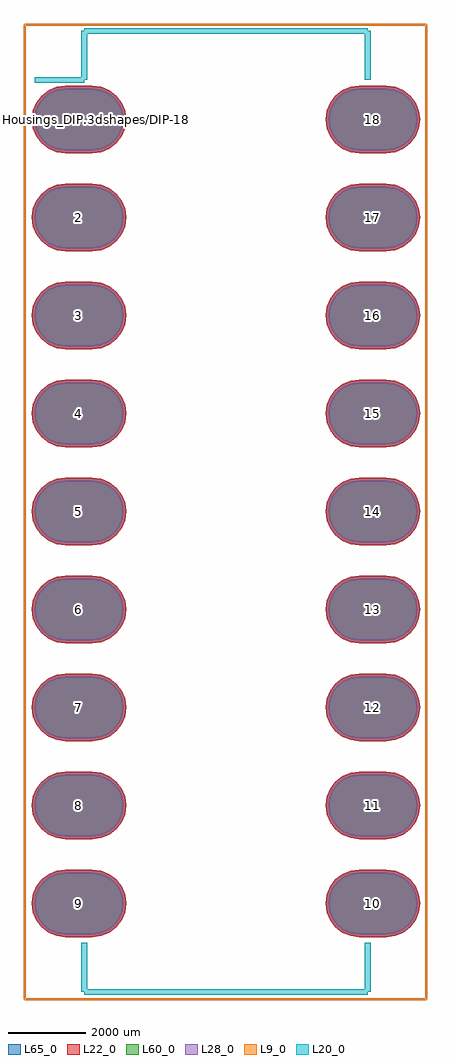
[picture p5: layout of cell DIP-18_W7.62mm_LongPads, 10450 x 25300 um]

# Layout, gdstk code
import gdstk
lib = gdstk.Library(unit=1e-6, precision=1e-09)
def P(c, l, *ps):  # polygons
    for p in ps: c.add(gdstk.Polygon(p, *l))
L9_0 = (9, 0)
L20_0 = (20, 0)
L22_0 = (22, 0)
L28_0 = (28, 0)
L60_0 = (60, 0)
L65_0 = (65, 0)

dip_18_w7_62mm_longpads = lib.new_cell('DIP-18_W7.62mm_LongPads')
P(dip_18_w7_62mm_longpads, L22_0, [(7270,-875),(7970,-875),(8196.467,-845.185),(8407.5,-757.772),(8588.718,-618.718),(8727.772,-437.5),(8815.185,-226.467),(8845,0),(8815.185,226.467),(8727.772,437.5),(8588.718,618.718),(8407.5,757.772),(8196.467,845.185),(7970,875),(7270,875),(7043.533,845.185),(6832.5,757.772),(6651.282,618.718),(6512.228,437.5),(6424.815,226.467),(6395,0),(6424.815,-226.467),(6512.228,-437.5),(6651.282,-618.718),(6832.5,-757.772),(7043.533,-845.185)],
  [(7270,-3415),(7970,-3415),(8196.467,-3385.185),(8407.5,-3297.772),(8588.718,-3158.718),(8727.772,-2977.5),(8815.185,-2766.467),(8845,-2540),(8815.185,-2313.533),(8727.772,-2102.5),(8588.718,-1921.282),(8407.5,-1782.228),(8196.467,-1694.815),(7970,-1665),(7270,-1665),(7043.533,-1694.815),(6832.5,-1782.228),(6651.282,-1921.282),(6512.228,-2102.5),(6424.815,-2313.533),(6395,-2540),(6424.815,-2766.467),(6512.228,-2977.5),(6651.282,-3158.718),(6832.5,-3297.772),(7043.533,-3385.185)],
  [(7270,-5955),(7970,-5955),(8196.467,-5925.185),(8407.5,-5837.772),(8588.718,-5698.718),(8727.772,-5517.5),(8815.185,-5306.467),(8845,-5080),(8815.185,-4853.533),(8727.772,-4642.5),(8588.718,-4461.282),(8407.5,-4322.228),(8196.467,-4234.815),(7970,-4205),(7270,-4205),(7043.533,-4234.815),(6832.5,-4322.228),(6651.282,-4461.282),(6512.228,-4642.5),(6424.815,-4853.533),(6395,-5080),(6424.815,-5306.467),(6512.228,-5517.5),(6651.282,-5698.718),(6832.5,-5837.772),(7043.533,-5925.185)],
  [(7270,-8495),(7970,-8495),(8196.467,-8465.185),(8407.5,-8377.772),(8588.718,-8238.718),(8727.772,-8057.5),(8815.185,-7846.467),(8845,-7620),(8815.185,-7393.533),(8727.772,-7182.5),(8588.718,-7001.282),(8407.5,-6862.228),(8196.467,-6774.815),(7970,-6745),(7270,-6745),(7043.533,-6774.815),(6832.5,-6862.228),(6651.282,-7001.282),(6512.228,-7182.5),(6424.815,-7393.533),(6395,-7620),(6424.815,-7846.467),(6512.228,-8057.5),(6651.282,-8238.718),(6832.5,-8377.772),(7043.533,-8465.185)],
  [(7270,-11035),(7970,-11035),(8196.467,-11005.185),(8407.5,-10917.772),(8588.718,-10778.718),(8727.772,-10597.5),(8815.185,-10386.467),(8845,-10160),(8815.185,-9933.533),(8727.772,-9722.5),(8588.718,-9541.282),(8407.5,-9402.228),(8196.467,-9314.815),(7970,-9285),(7270,-9285),(7043.533,-9314.815),(6832.5,-9402.228),(6651.282,-9541.282),(6512.228,-9722.5),(6424.815,-9933.533),(6395,-10160),(6424.815,-10386.467),(6512.228,-10597.5),(6651.282,-10778.718),(6832.5,-10917.772),(7043.533,-11005.185)],
  [(7270,-13575),(7970,-13575),(8196.467,-13545.185),(8407.5,-13457.772),(8588.718,-13318.718),(8727.772,-13137.5),(8815.185,-12926.467),(8845,-12700),(8815.185,-12473.533),(8727.772,-12262.5),(8588.718,-12081.282),(8407.5,-11942.228),(8196.467,-11854.815),(7970,-11825),(7270,-11825),(7043.533,-11854.815),(6832.5,-11942.228),(6651.282,-12081.282),(6512.228,-12262.5),(6424.815,-12473.533),(6395,-12700),(6424.815,-12926.467),(6512.228,-13137.5),(6651.282,-13318.718),(6832.5,-13457.772),(7043.533,-13545.185)],
  [(7270,-16115),(7970,-16115),(8196.467,-16085.185),(8407.5,-15997.772),(8588.718,-15858.718),(8727.772,-15677.5),(8815.185,-15466.467),(8845,-15240),(8815.185,-15013.533),(8727.772,-14802.5),(8588.718,-14621.282),(8407.5,-14482.228),(8196.467,-14394.815),(7970,-14365),(7270,-14365),(7043.533,-14394.815),(6832.5,-14482.228),(6651.282,-14621.282),(6512.228,-14802.5),(6424.815,-15013.533),(6395,-15240),(6424.815,-15466.467),(6512.228,-15677.5),(6651.282,-15858.718),(6832.5,-15997.772),(7043.533,-16085.185)],
  [(7270,-18655),(7970,-18655),(8196.467,-18625.185),(8407.5,-18537.772),(8588.718,-18398.718),(8727.772,-18217.5),(8815.185,-18006.467),(8845,-17780),(8815.185,-17553.533),(8727.772,-17342.5),(8588.718,-17161.282),(8407.5,-17022.228),(8196.467,-16934.815),(7970,-16905),(7270,-16905),(7043.533,-16934.815),(6832.5,-17022.228),(6651.282,-17161.282),(6512.228,-17342.5),(6424.815,-17553.533),(6395,-17780),(6424.815,-18006.467),(6512.228,-18217.5),(6651.282,-18398.718),(6832.5,-18537.772),(7043.533,-18625.185)],
  [(7270,-21195),(7970,-21195),(8196.467,-21165.185),(8407.5,-21077.772),(8588.718,-20938.718),(8727.772,-20757.5),(8815.185,-20546.467),(8845,-20320),(8815.185,-20093.533),(8727.772,-19882.5),(8588.718,-19701.282),(8407.5,-19562.228),(8196.467,-19474.815),(7970,-19445),(7270,-19445),(7043.533,-19474.815),(6832.5,-19562.228),(6651.282,-19701.282),(6512.228,-19882.5),(6424.815,-20093.533),(6395,-20320),(6424.815,-20546.467),(6512.228,-20757.5),(6651.282,-20938.718),(6832.5,-21077.772),(7043.533,-21165.185)],
  [(-350,-21195),(350,-21195),(576.467,-21165.185),(787.5,-21077.772),(968.718,-20938.718),(1107.772,-20757.5),(1195.185,-20546.467),(1225,-20320),(1195.185,-20093.533),(1107.772,-19882.5),(968.718,-19701.282),(787.5,-19562.228),(576.467,-19474.815),(350,-19445),(-350,-19445),(-576.467,-19474.815),(-787.5,-19562.228),(-968.718,-19701.282),(-1107.772,-19882.5),(-1195.185,-20093.533),(-1225,-20320),(-1195.185,-20546.467),(-1107.772,-20757.5),(-968.718,-20938.718),(-787.5,-21077.772),(-576.467,-21165.185)],
  [(-350,-18655),(350,-18655),(576.467,-18625.185),(787.5,-18537.772),(968.718,-18398.718),(1107.772,-18217.5),(1195.185,-18006.467),(1225,-17780),(1195.185,-17553.533),(1107.772,-17342.5),(968.718,-17161.282),(787.5,-17022.228),(576.467,-16934.815),(350,-16905),(-350,-16905),(-576.467,-16934.815),(-787.5,-17022.228),(-968.718,-17161.282),(-1107.772,-17342.5),(-1195.185,-17553.533),(-1225,-17780),(-1195.185,-18006.467),(-1107.772,-18217.5),(-968.718,-18398.718),(-787.5,-18537.772),(-576.467,-18625.185)],
  [(-350,-16115),(350,-16115),(576.467,-16085.185),(787.5,-15997.772),(968.718,-15858.718),(1107.772,-15677.5),(1195.185,-15466.467),(1225,-15240),(1195.185,-15013.533),(1107.772,-14802.5),(968.718,-14621.282),(787.5,-14482.228),(576.467,-14394.815),(350,-14365),(-350,-14365),(-576.467,-14394.815),(-787.5,-14482.228),(-968.718,-14621.282),(-1107.772,-14802.5),(-1195.185,-15013.533),(-1225,-15240),(-1195.185,-15466.467),(-1107.772,-15677.5),(-968.718,-15858.718),(-787.5,-15997.772),(-576.467,-16085.185)],
  [(-350,-13575),(350,-13575),(576.467,-13545.185),(787.5,-13457.772),(968.718,-13318.718),(1107.772,-13137.5),(1195.185,-12926.467),(1225,-12700),(1195.185,-12473.533),(1107.772,-12262.5),(968.718,-12081.282),(787.5,-11942.228),(576.467,-11854.815),(350,-11825),(-350,-11825),(-576.467,-11854.815),(-787.5,-11942.228),(-968.718,-12081.282),(-1107.772,-12262.5),(-1195.185,-12473.533),(-1225,-12700),(-1195.185,-12926.467),(-1107.772,-13137.5),(-968.718,-13318.718),(-787.5,-13457.772),(-576.467,-13545.185)],
  [(-350,-11035),(350,-11035),(576.467,-11005.185),(787.5,-10917.772),(968.718,-10778.718),(1107.772,-10597.5),(1195.185,-10386.467),(1225,-10160),(1195.185,-9933.533),(1107.772,-9722.5),(968.718,-9541.282),(787.5,-9402.228),(576.467,-9314.815),(350,-9285),(-350,-9285),(-576.467,-9314.815),(-787.5,-9402.228),(-968.718,-9541.282),(-1107.772,-9722.5),(-1195.185,-9933.533),(-1225,-10160),(-1195.185,-10386.467),(-1107.772,-10597.5),(-968.718,-10778.718),(-787.5,-10917.772),(-576.467,-11005.185)],
  [(-350,-8495),(350,-8495),(576.467,-8465.185),(787.5,-8377.772),(968.718,-8238.718),(1107.772,-8057.5),(1195.185,-7846.467),(1225,-7620),(1195.185,-7393.533),(1107.772,-7182.5),(968.718,-7001.282),(787.5,-6862.228),(576.467,-6774.815),(350,-6745),(-350,-6745),(-576.467,-6774.815),(-787.5,-6862.228),(-968.718,-7001.282),(-1107.772,-7182.5),(-1195.185,-7393.533),(-1225,-7620),(-1195.185,-7846.467),(-1107.772,-8057.5),(-968.718,-8238.718),(-787.5,-8377.772),(-576.467,-8465.185)],
  [(-350,-5955),(350,-5955),(576.467,-5925.185),(787.5,-5837.772),(968.718,-5698.718),(1107.772,-5517.5),(1195.185,-5306.467),(1225,-5080),(1195.185,-4853.533),(1107.772,-4642.5),(968.718,-4461.282),(787.5,-4322.228),(576.467,-4234.815),(350,-4205),(-350,-4205),(-576.467,-4234.815),(-787.5,-4322.228),(-968.718,-4461.282),(-1107.772,-4642.5),(-1195.185,-4853.533),(-1225,-5080),(-1195.185,-5306.467),(-1107.772,-5517.5),(-968.718,-5698.718),(-787.5,-5837.772),(-576.467,-5925.185)],
  [(-350,-3415),(350,-3415),(576.467,-3385.185),(787.5,-3297.772),(968.718,-3158.718),(1107.772,-2977.5),(1195.185,-2766.467),(1225,-2540),(1195.185,-2313.533),(1107.772,-2102.5),(968.718,-1921.282),(787.5,-1782.228),(576.467,-1694.815),(350,-1665),(-350,-1665),(-576.467,-1694.815),(-787.5,-1782.228),(-968.718,-1921.282),(-1107.772,-2102.5),(-1195.185,-2313.533),(-1225,-2540),(-1195.185,-2766.467),(-1107.772,-2977.5),(-968.718,-3158.718),(-787.5,-3297.772),(-576.467,-3385.185)],
  [(-350,-875),(350,-875),(576.467,-845.185),(787.5,-757.772),(968.718,-618.718),(1107.772,-437.5),(1195.185,-226.467),(1225,0),(1195.185,226.467),(1107.772,437.5),(968.718,618.718),(787.5,757.772),(576.467,845.185),(350,875),(-350,875),(-576.467,845.185),(-787.5,757.772),(-968.718,618.718),(-1107.772,437.5),(-1195.185,226.467),(-1225,0),(-1195.185,-226.467),(-1107.772,-437.5),(-968.718,-618.718),(-787.5,-757.772),(-576.467,-845.185)])
P(dip_18_w7_62mm_longpads, L28_0, [(7270,-800),(7970,-800),(8177.055,-772.741),(8370,-692.82),(8535.685,-565.685),(8662.82,-400),(8742.741,-207.055),(8770,0),(8742.741,207.055),(8662.82,400),(8535.685,565.685),(8370,692.82),(8177.055,772.741),(7970,800),(7270,800),(7062.945,772.741),(6870,692.82),(6704.315,565.685),(6577.18,400),(6497.259,207.055),(6470,0),(6497.259,-207.055),(6577.18,-400),(6704.315,-565.685),(6870,-692.82),(7062.945,-772.741)],
  [(7270,-3340),(7970,-3340),(8177.055,-3312.741),(8370,-3232.82),(8535.685,-3105.685),(8662.82,-2940),(8742.741,-2747.055),(8770,-2540),(8742.741,-2332.945),(8662.82,-2140),(8535.685,-1974.315),(8370,-1847.18),(8177.055,-1767.259),(7970,-1740),(7270,-1740),(7062.945,-1767.259),(6870,-1847.18),(6704.315,-1974.315),(6577.18,-2140),(6497.259,-2332.945),(6470,-2540),(6497.259,-2747.055),(6577.18,-2940),(6704.315,-3105.685),(6870,-3232.82),(7062.945,-3312.741)],
  [(7270,-5880),(7970,-5880),(8177.055,-5852.741),(8370,-5772.82),(8535.685,-5645.685),(8662.82,-5480),(8742.741,-5287.055),(8770,-5080),(8742.741,-4872.945),(8662.82,-4680),(8535.685,-4514.315),(8370,-4387.18),(8177.055,-4307.259),(7970,-4280),(7270,-4280),(7062.945,-4307.259),(6870,-4387.18),(6704.315,-4514.315),(6577.18,-4680),(6497.259,-4872.945),(6470,-5080),(6497.259,-5287.055),(6577.18,-5480),(6704.315,-5645.685),(6870,-5772.82),(7062.945,-5852.741)],
  [(7270,-8420),(7970,-8420),(8177.055,-8392.741),(8370,-8312.82),(8535.685,-8185.685),(8662.82,-8020),(8742.741,-7827.055),(8770,-7620),(8742.741,-7412.945),(8662.82,-7220),(8535.685,-7054.315),(8370,-6927.18),(8177.055,-6847.259),(7970,-6820),(7270,-6820),(7062.945,-6847.259),(6870,-6927.18),(6704.315,-7054.315),(6577.18,-7220),(6497.259,-7412.945),(6470,-7620),(6497.259,-7827.055),(6577.18,-8020),(6704.315,-8185.685),(6870,-8312.82),(7062.945,-8392.741)],
  [(7270,-10960),(7970,-10960),(8177.055,-10932.741),(8370,-10852.82),(8535.685,-10725.685),(8662.82,-10560),(8742.741,-10367.055),(8770,-10160),(8742.741,-9952.945),(8662.82,-9760),(8535.685,-9594.315),(8370,-9467.18),(8177.055,-9387.259),(7970,-9360),(7270,-9360),(7062.945,-9387.259),(6870,-9467.18),(6704.315,-9594.315),(6577.18,-9760),(6497.259,-9952.945),(6470,-10160),(6497.259,-10367.055),(6577.18,-10560),(6704.315,-10725.685),(6870,-10852.82),(7062.945,-10932.741)],
  [(7270,-13500),(7970,-13500),(8177.055,-13472.741),(8370,-13392.82),(8535.685,-13265.685),(8662.82,-13100),(8742.741,-12907.055),(8770,-12700),(8742.741,-12492.945),(8662.82,-12300),(8535.685,-12134.315),(8370,-12007.18),(8177.055,-11927.259),(7970,-11900),(7270,-11900),(7062.945,-11927.259),(6870,-12007.18),(6704.315,-12134.315),(6577.18,-12300),(6497.259,-12492.945),(6470,-12700),(6497.259,-12907.055),(6577.18,-13100),(6704.315,-13265.685),(6870,-13392.82),(7062.945,-13472.741)],
  [(7270,-16040),(7970,-16040),(8177.055,-16012.741),(8370,-15932.82),(8535.685,-15805.685),(8662.82,-15640),(8742.741,-15447.055),(8770,-15240),(8742.741,-15032.945),(8662.82,-14840),(8535.685,-14674.315),(8370,-14547.18),(8177.055,-14467.259),(7970,-14440),(7270,-14440),(7062.945,-14467.259),(6870,-14547.18),(6704.315,-14674.315),(6577.18,-14840),(6497.259,-15032.945),(6470,-15240),(6497.259,-15447.055),(6577.18,-15640),(6704.315,-15805.685),(6870,-15932.82),(7062.945,-16012.741)],
  [(7270,-18580),(7970,-18580),(8177.055,-18552.741),(8370,-18472.82),(8535.685,-18345.685),(8662.82,-18180),(8742.741,-17987.055),(8770,-17780),(8742.741,-17572.945),(8662.82,-17380),(8535.685,-17214.315),(8370,-17087.18),(8177.055,-17007.259),(7970,-16980),(7270,-16980),(7062.945,-17007.259),(6870,-17087.18),(6704.315,-17214.315),(6577.18,-17380),(6497.259,-17572.945),(6470,-17780),(6497.259,-17987.055),(6577.18,-18180),(6704.315,-18345.685),(6870,-18472.82),(7062.945,-18552.741)],
  [(7270,-21120),(7970,-21120),(8177.055,-21092.741),(8370,-21012.82),(8535.685,-20885.685),(8662.82,-20720),(8742.741,-20527.055),(8770,-20320),(8742.741,-20112.945),(8662.82,-19920),(8535.685,-19754.315),(8370,-19627.18),(8177.055,-19547.259),(7970,-19520),(7270,-19520),(7062.945,-19547.259),(6870,-19627.18),(6704.315,-19754.315),(6577.18,-19920),(6497.259,-20112.945),(6470,-20320),(6497.259,-20527.055),(6577.18,-20720),(6704.315,-20885.685),(6870,-21012.82),(7062.945,-21092.741)],
  [(-350,-21120),(350,-21120),(557.055,-21092.741),(750,-21012.82),(915.685,-20885.685),(1042.82,-20720),(1122.741,-20527.055),(1150,-20320),(1122.741,-20112.945),(1042.82,-19920),(915.685,-19754.315),(750,-19627.18),(557.055,-19547.259),(350,-19520),(-350,-19520),(-557.055,-19547.259),(-750,-19627.18),(-915.685,-19754.315),(-1042.82,-19920),(-1122.741,-20112.945),(-1150,-20320),(-1122.741,-20527.055),(-1042.82,-20720),(-915.685,-20885.685),(-750,-21012.82),(-557.055,-21092.741)],
  [(-350,-18580),(350,-18580),(557.055,-18552.741),(750,-18472.82),(915.685,-18345.685),(1042.82,-18180),(1122.741,-17987.055),(1150,-17780),(1122.741,-17572.945),(1042.82,-17380),(915.685,-17214.315),(750,-17087.18),(557.055,-17007.259),(350,-16980),(-350,-16980),(-557.055,-17007.259),(-750,-17087.18),(-915.685,-17214.315),(-1042.82,-17380),(-1122.741,-17572.945),(-1150,-17780),(-1122.741,-17987.055),(-1042.82,-18180),(-915.685,-18345.685),(-750,-18472.82),(-557.055,-18552.741)],
  [(-350,-16040),(350,-16040),(557.055,-16012.741),(750,-15932.82),(915.685,-15805.685),(1042.82,-15640),(1122.741,-15447.055),(1150,-15240),(1122.741,-15032.945),(1042.82,-14840),(915.685,-14674.315),(750,-14547.18),(557.055,-14467.259),(350,-14440),(-350,-14440),(-557.055,-14467.259),(-750,-14547.18),(-915.685,-14674.315),(-1042.82,-14840),(-1122.741,-15032.945),(-1150,-15240),(-1122.741,-15447.055),(-1042.82,-15640),(-915.685,-15805.685),(-750,-15932.82),(-557.055,-16012.741)],
  [(-350,-13500),(350,-13500),(557.055,-13472.741),(750,-13392.82),(915.685,-13265.685),(1042.82,-13100),(1122.741,-12907.055),(1150,-12700),(1122.741,-12492.945),(1042.82,-12300),(915.685,-12134.315),(750,-12007.18),(557.055,-11927.259),(350,-11900),(-350,-11900),(-557.055,-11927.259),(-750,-12007.18),(-915.685,-12134.315),(-1042.82,-12300),(-1122.741,-12492.945),(-1150,-12700),(-1122.741,-12907.055),(-1042.82,-13100),(-915.685,-13265.685),(-750,-13392.82),(-557.055,-13472.741)],
  [(-350,-10960),(350,-10960),(557.055,-10932.741),(750,-10852.82),(915.685,-10725.685),(1042.82,-10560),(1122.741,-10367.055),(1150,-10160),(1122.741,-9952.945),(1042.82,-9760),(915.685,-9594.315),(750,-9467.18),(557.055,-9387.259),(350,-9360),(-350,-9360),(-557.055,-9387.259),(-750,-9467.18),(-915.685,-9594.315),(-1042.82,-9760),(-1122.741,-9952.945),(-1150,-10160),(-1122.741,-10367.055),(-1042.82,-10560),(-915.685,-10725.685),(-750,-10852.82),(-557.055,-10932.741)],
  [(-350,-8420),(350,-8420),(557.055,-8392.741),(750,-8312.82),(915.685,-8185.685),(1042.82,-8020),(1122.741,-7827.055),(1150,-7620),(1122.741,-7412.945),(1042.82,-7220),(915.685,-7054.315),(750,-6927.18),(557.055,-6847.259),(350,-6820),(-350,-6820),(-557.055,-6847.259),(-750,-6927.18),(-915.685,-7054.315),(-1042.82,-7220),(-1122.741,-7412.945),(-1150,-7620),(-1122.741,-7827.055),(-1042.82,-8020),(-915.685,-8185.685),(-750,-8312.82),(-557.055,-8392.741)],
  [(-350,-5880),(350,-5880),(557.055,-5852.741),(750,-5772.82),(915.685,-5645.685),(1042.82,-5480),(1122.741,-5287.055),(1150,-5080),(1122.741,-4872.945),(1042.82,-4680),(915.685,-4514.315),(750,-4387.18),(557.055,-4307.259),(350,-4280),(-350,-4280),(-557.055,-4307.259),(-750,-4387.18),(-915.685,-4514.315),(-1042.82,-4680),(-1122.741,-4872.945),(-1150,-5080),(-1122.741,-5287.055),(-1042.82,-5480),(-915.685,-5645.685),(-750,-5772.82),(-557.055,-5852.741)],
  [(-350,-3340),(350,-3340),(557.055,-3312.741),(750,-3232.82),(915.685,-3105.685),(1042.82,-2940),(1122.741,-2747.055),(1150,-2540),(1122.741,-2332.945),(1042.82,-2140),(915.685,-1974.315),(750,-1847.18),(557.055,-1767.259),(350,-1740),(-350,-1740),(-557.055,-1767.259),(-750,-1847.18),(-915.685,-1974.315),(-1042.82,-2140),(-1122.741,-2332.945),(-1150,-2540),(-1122.741,-2747.055),(-1042.82,-2940),(-915.685,-3105.685),(-750,-3232.82),(-557.055,-3312.741)],
  [(-350,-800),(350,-800),(557.055,-772.741),(750,-692.82),(915.685,-565.685),(1042.82,-400),(1122.741,-207.055),(1150,0),(1122.741,207.055),(1042.82,400),(915.685,565.685),(750,692.82),(557.055,772.741),(350,800),(-350,800),(-557.055,772.741),(-750,692.82),(-915.685,565.685),(-1042.82,400),(-1122.741,207.055),(-1150,0),(-1122.741,-207.055),(-1042.82,-400),(-915.685,-565.685),(-750,-692.82),(-557.055,-772.741)])
P(dip_18_w7_62mm_longpads, L60_0, [(7270,-800),(7970,-800),(8177.055,-772.741),(8370,-692.82),(8535.685,-565.685),(8662.82,-400),(8742.741,-207.055),(8770,0),(8742.741,207.055),(8662.82,400),(8535.685,565.685),(8370,692.82),(8177.055,772.741),(7970,800),(7270,800),(7062.945,772.741),(6870,692.82),(6704.315,565.685),(6577.18,400),(6497.259,207.055),(6470,0),(6497.259,-207.055),(6577.18,-400),(6704.315,-565.685),(6870,-692.82),(7062.945,-772.741)],
  [(7270,-3340),(7970,-3340),(8177.055,-3312.741),(8370,-3232.82),(8535.685,-3105.685),(8662.82,-2940),(8742.741,-2747.055),(8770,-2540),(8742.741,-2332.945),(8662.82,-2140),(8535.685,-1974.315),(8370,-1847.18),(8177.055,-1767.259),(7970,-1740),(7270,-1740),(7062.945,-1767.259),(6870,-1847.18),(6704.315,-1974.315),(6577.18,-2140),(6497.259,-2332.945),(6470,-2540),(6497.259,-2747.055),(6577.18,-2940),(6704.315,-3105.685),(6870,-3232.82),(7062.945,-3312.741)],
  [(7270,-5880),(7970,-5880),(8177.055,-5852.741),(8370,-5772.82),(8535.685,-5645.685),(8662.82,-5480),(8742.741,-5287.055),(8770,-5080),(8742.741,-4872.945),(8662.82,-4680),(8535.685,-4514.315),(8370,-4387.18),(8177.055,-4307.259),(7970,-4280),(7270,-4280),(7062.945,-4307.259),(6870,-4387.18),(6704.315,-4514.315),(6577.18,-4680),(6497.259,-4872.945),(6470,-5080),(6497.259,-5287.055),(6577.18,-5480),(6704.315,-5645.685),(6870,-5772.82),(7062.945,-5852.741)],
  [(7270,-8420),(7970,-8420),(8177.055,-8392.741),(8370,-8312.82),(8535.685,-8185.685),(8662.82,-8020),(8742.741,-7827.055),(8770,-7620),(8742.741,-7412.945),(8662.82,-7220),(8535.685,-7054.315),(8370,-6927.18),(8177.055,-6847.259),(7970,-6820),(7270,-6820),(7062.945,-6847.259),(6870,-6927.18),(6704.315,-7054.315),(6577.18,-7220),(6497.259,-7412.945),(6470,-7620),(6497.259,-7827.055),(6577.18,-8020),(6704.315,-8185.685),(6870,-8312.82),(7062.945,-8392.741)],
  [(7270,-10960),(7970,-10960),(8177.055,-10932.741),(8370,-10852.82),(8535.685,-10725.685),(8662.82,-10560),(8742.741,-10367.055),(8770,-10160),(8742.741,-9952.945),(8662.82,-9760),(8535.685,-9594.315),(8370,-9467.18),(8177.055,-9387.259),(7970,-9360),(7270,-9360),(7062.945,-9387.259),(6870,-9467.18),(6704.315,-9594.315),(6577.18,-9760),(6497.259,-9952.945),(6470,-10160),(6497.259,-10367.055),(6577.18,-10560),(6704.315,-10725.685),(6870,-10852.82),(7062.945,-10932.741)],
  [(7270,-13500),(7970,-13500),(8177.055,-13472.741),(8370,-13392.82),(8535.685,-13265.685),(8662.82,-13100),(8742.741,-12907.055),(8770,-12700),(8742.741,-12492.945),(8662.82,-12300),(8535.685,-12134.315),(8370,-12007.18),(8177.055,-11927.259),(7970,-11900),(7270,-11900),(7062.945,-11927.259),(6870,-12007.18),(6704.315,-12134.315),(6577.18,-12300),(6497.259,-12492.945),(6470,-12700),(6497.259,-12907.055),(6577.18,-13100),(6704.315,-13265.685),(6870,-13392.82),(7062.945,-13472.741)],
  [(7270,-16040),(7970,-16040),(8177.055,-16012.741),(8370,-15932.82),(8535.685,-15805.685),(8662.82,-15640),(8742.741,-15447.055),(8770,-15240),(8742.741,-15032.945),(8662.82,-14840),(8535.685,-14674.315),(8370,-14547.18),(8177.055,-14467.259),(7970,-14440),(7270,-14440),(7062.945,-14467.259),(6870,-14547.18),(6704.315,-14674.315),(6577.18,-14840),(6497.259,-15032.945),(6470,-15240),(6497.259,-15447.055),(6577.18,-15640),(6704.315,-15805.685),(6870,-15932.82),(7062.945,-16012.741)],
  [(7270,-18580),(7970,-18580),(8177.055,-18552.741),(8370,-18472.82),(8535.685,-18345.685),(8662.82,-18180),(8742.741,-17987.055),(8770,-17780),(8742.741,-17572.945),(8662.82,-17380),(8535.685,-17214.315),(8370,-17087.18),(8177.055,-17007.259),(7970,-16980),(7270,-16980),(7062.945,-17007.259),(6870,-17087.18),(6704.315,-17214.315),(6577.18,-17380),(6497.259,-17572.945),(6470,-17780),(6497.259,-17987.055),(6577.18,-18180),(6704.315,-18345.685),(6870,-18472.82),(7062.945,-18552.741)],
  [(7270,-21120),(7970,-21120),(8177.055,-21092.741),(8370,-21012.82),(8535.685,-20885.685),(8662.82,-20720),(8742.741,-20527.055),(8770,-20320),(8742.741,-20112.945),(8662.82,-19920),(8535.685,-19754.315),(8370,-19627.18),(8177.055,-19547.259),(7970,-19520),(7270,-19520),(7062.945,-19547.259),(6870,-19627.18),(6704.315,-19754.315),(6577.18,-19920),(6497.259,-20112.945),(6470,-20320),(6497.259,-20527.055),(6577.18,-20720),(6704.315,-20885.685),(6870,-21012.82),(7062.945,-21092.741)],
  [(-350,-21120),(350,-21120),(557.055,-21092.741),(750,-21012.82),(915.685,-20885.685),(1042.82,-20720),(1122.741,-20527.055),(1150,-20320),(1122.741,-20112.945),(1042.82,-19920),(915.685,-19754.315),(750,-19627.18),(557.055,-19547.259),(350,-19520),(-350,-19520),(-557.055,-19547.259),(-750,-19627.18),(-915.685,-19754.315),(-1042.82,-19920),(-1122.741,-20112.945),(-1150,-20320),(-1122.741,-20527.055),(-1042.82,-20720),(-915.685,-20885.685),(-750,-21012.82),(-557.055,-21092.741)],
  [(-350,-18580),(350,-18580),(557.055,-18552.741),(750,-18472.82),(915.685,-18345.685),(1042.82,-18180),(1122.741,-17987.055),(1150,-17780),(1122.741,-17572.945),(1042.82,-17380),(915.685,-17214.315),(750,-17087.18),(557.055,-17007.259),(350,-16980),(-350,-16980),(-557.055,-17007.259),(-750,-17087.18),(-915.685,-17214.315),(-1042.82,-17380),(-1122.741,-17572.945),(-1150,-17780),(-1122.741,-17987.055),(-1042.82,-18180),(-915.685,-18345.685),(-750,-18472.82),(-557.055,-18552.741)],
  [(-350,-16040),(350,-16040),(557.055,-16012.741),(750,-15932.82),(915.685,-15805.685),(1042.82,-15640),(1122.741,-15447.055),(1150,-15240),(1122.741,-15032.945),(1042.82,-14840),(915.685,-14674.315),(750,-14547.18),(557.055,-14467.259),(350,-14440),(-350,-14440),(-557.055,-14467.259),(-750,-14547.18),(-915.685,-14674.315),(-1042.82,-14840),(-1122.741,-15032.945),(-1150,-15240),(-1122.741,-15447.055),(-1042.82,-15640),(-915.685,-15805.685),(-750,-15932.82),(-557.055,-16012.741)],
  [(-350,-13500),(350,-13500),(557.055,-13472.741),(750,-13392.82),(915.685,-13265.685),(1042.82,-13100),(1122.741,-12907.055),(1150,-12700),(1122.741,-12492.945),(1042.82,-12300),(915.685,-12134.315),(750,-12007.18),(557.055,-11927.259),(350,-11900),(-350,-11900),(-557.055,-11927.259),(-750,-12007.18),(-915.685,-12134.315),(-1042.82,-12300),(-1122.741,-12492.945),(-1150,-12700),(-1122.741,-12907.055),(-1042.82,-13100),(-915.685,-13265.685),(-750,-13392.82),(-557.055,-13472.741)],
  [(-350,-10960),(350,-10960),(557.055,-10932.741),(750,-10852.82),(915.685,-10725.685),(1042.82,-10560),(1122.741,-10367.055),(1150,-10160),(1122.741,-9952.945),(1042.82,-9760),(915.685,-9594.315),(750,-9467.18),(557.055,-9387.259),(350,-9360),(-350,-9360),(-557.055,-9387.259),(-750,-9467.18),(-915.685,-9594.315),(-1042.82,-9760),(-1122.741,-9952.945),(-1150,-10160),(-1122.741,-10367.055),(-1042.82,-10560),(-915.685,-10725.685),(-750,-10852.82),(-557.055,-10932.741)],
  [(-350,-8420),(350,-8420),(557.055,-8392.741),(750,-8312.82),(915.685,-8185.685),(1042.82,-8020),(1122.741,-7827.055),(1150,-7620),(1122.741,-7412.945),(1042.82,-7220),(915.685,-7054.315),(750,-6927.18),(557.055,-6847.259),(350,-6820),(-350,-6820),(-557.055,-6847.259),(-750,-6927.18),(-915.685,-7054.315),(-1042.82,-7220),(-1122.741,-7412.945),(-1150,-7620),(-1122.741,-7827.055),(-1042.82,-8020),(-915.685,-8185.685),(-750,-8312.82),(-557.055,-8392.741)],
  [(-350,-5880),(350,-5880),(557.055,-5852.741),(750,-5772.82),(915.685,-5645.685),(1042.82,-5480),(1122.741,-5287.055),(1150,-5080),(1122.741,-4872.945),(1042.82,-4680),(915.685,-4514.315),(750,-4387.18),(557.055,-4307.259),(350,-4280),(-350,-4280),(-557.055,-4307.259),(-750,-4387.18),(-915.685,-4514.315),(-1042.82,-4680),(-1122.741,-4872.945),(-1150,-5080),(-1122.741,-5287.055),(-1042.82,-5480),(-915.685,-5645.685),(-750,-5772.82),(-557.055,-5852.741)],
  [(-350,-3340),(350,-3340),(557.055,-3312.741),(750,-3232.82),(915.685,-3105.685),(1042.82,-2940),(1122.741,-2747.055),(1150,-2540),(1122.741,-2332.945),(1042.82,-2140),(915.685,-1974.315),(750,-1847.18),(557.055,-1767.259),(350,-1740),(-350,-1740),(-557.055,-1767.259),(-750,-1847.18),(-915.685,-1974.315),(-1042.82,-2140),(-1122.741,-2332.945),(-1150,-2540),(-1122.741,-2747.055),(-1042.82,-2940),(-915.685,-3105.685),(-750,-3232.82),(-557.055,-3312.741)],
  [(-350,-800),(350,-800),(557.055,-772.741),(750,-692.82),(915.685,-565.685),(1042.82,-400),(1122.741,-207.055),(1150,0),(1122.741,207.055),(1042.82,400),(915.685,565.685),(750,692.82),(557.055,772.741),(350,800),(-350,800),(-557.055,772.741),(-750,692.82),(-915.685,565.685),(-1042.82,400),(-1122.741,207.055),(-1150,0),(-1122.741,-207.055),(-1042.82,-400),(-915.685,-565.685),(-750,-692.82),(-557.055,-772.741)])
P(dip_18_w7_62mm_longpads, L65_0, [(7270,-875),(7970,-875),(8196.467,-845.185),(8407.5,-757.772),(8588.718,-618.718),(8727.772,-437.5),(8815.185,-226.467),(8845,0),(8815.185,226.467),(8727.772,437.5),(8588.718,618.718),(8407.5,757.772),(8196.467,845.185),(7970,875),(7270,875),(7043.533,845.185),(6832.5,757.772),(6651.282,618.718),(6512.228,437.5),(6424.815,226.467),(6395,0),(6424.815,-226.467),(6512.228,-437.5),(6651.282,-618.718),(6832.5,-757.772),(7043.533,-845.185)],
  [(7270,-3415),(7970,-3415),(8196.467,-3385.185),(8407.5,-3297.772),(8588.718,-3158.718),(8727.772,-2977.5),(8815.185,-2766.467),(8845,-2540),(8815.185,-2313.533),(8727.772,-2102.5),(8588.718,-1921.282),(8407.5,-1782.228),(8196.467,-1694.815),(7970,-1665),(7270,-1665),(7043.533,-1694.815),(6832.5,-1782.228),(6651.282,-1921.282),(6512.228,-2102.5),(6424.815,-2313.533),(6395,-2540),(6424.815,-2766.467),(6512.228,-2977.5),(6651.282,-3158.718),(6832.5,-3297.772),(7043.533,-3385.185)],
  [(7270,-5955),(7970,-5955),(8196.467,-5925.185),(8407.5,-5837.772),(8588.718,-5698.718),(8727.772,-5517.5),(8815.185,-5306.467),(8845,-5080),(8815.185,-4853.533),(8727.772,-4642.5),(8588.718,-4461.282),(8407.5,-4322.228),(8196.467,-4234.815),(7970,-4205),(7270,-4205),(7043.533,-4234.815),(6832.5,-4322.228),(6651.282,-4461.282),(6512.228,-4642.5),(6424.815,-4853.533),(6395,-5080),(6424.815,-5306.467),(6512.228,-5517.5),(6651.282,-5698.718),(6832.5,-5837.772),(7043.533,-5925.185)],
  [(7270,-8495),(7970,-8495),(8196.467,-8465.185),(8407.5,-8377.772),(8588.718,-8238.718),(8727.772,-8057.5),(8815.185,-7846.467),(8845,-7620),(8815.185,-7393.533),(8727.772,-7182.5),(8588.718,-7001.282),(8407.5,-6862.228),(8196.467,-6774.815),(7970,-6745),(7270,-6745),(7043.533,-6774.815),(6832.5,-6862.228),(6651.282,-7001.282),(6512.228,-7182.5),(6424.815,-7393.533),(6395,-7620),(6424.815,-7846.467),(6512.228,-8057.5),(6651.282,-8238.718),(6832.5,-8377.772),(7043.533,-8465.185)],
  [(7270,-11035),(7970,-11035),(8196.467,-11005.185),(8407.5,-10917.772),(8588.718,-10778.718),(8727.772,-10597.5),(8815.185,-10386.467),(8845,-10160),(8815.185,-9933.533),(8727.772,-9722.5),(8588.718,-9541.282),(8407.5,-9402.228),(8196.467,-9314.815),(7970,-9285),(7270,-9285),(7043.533,-9314.815),(6832.5,-9402.228),(6651.282,-9541.282),(6512.228,-9722.5),(6424.815,-9933.533),(6395,-10160),(6424.815,-10386.467),(6512.228,-10597.5),(6651.282,-10778.718),(6832.5,-10917.772),(7043.533,-11005.185)],
  [(7270,-13575),(7970,-13575),(8196.467,-13545.185),(8407.5,-13457.772),(8588.718,-13318.718),(8727.772,-13137.5),(8815.185,-12926.467),(8845,-12700),(8815.185,-12473.533),(8727.772,-12262.5),(8588.718,-12081.282),(8407.5,-11942.228),(8196.467,-11854.815),(7970,-11825),(7270,-11825),(7043.533,-11854.815),(6832.5,-11942.228),(6651.282,-12081.282),(6512.228,-12262.5),(6424.815,-12473.533),(6395,-12700),(6424.815,-12926.467),(6512.228,-13137.5),(6651.282,-13318.718),(6832.5,-13457.772),(7043.533,-13545.185)],
  [(7270,-16115),(7970,-16115),(8196.467,-16085.185),(8407.5,-15997.772),(8588.718,-15858.718),(8727.772,-15677.5),(8815.185,-15466.467),(8845,-15240),(8815.185,-15013.533),(8727.772,-14802.5),(8588.718,-14621.282),(8407.5,-14482.228),(8196.467,-14394.815),(7970,-14365),(7270,-14365),(7043.533,-14394.815),(6832.5,-14482.228),(6651.282,-14621.282),(6512.228,-14802.5),(6424.815,-15013.533),(6395,-15240),(6424.815,-15466.467),(6512.228,-15677.5),(6651.282,-15858.718),(6832.5,-15997.772),(7043.533,-16085.185)],
  [(7270,-18655),(7970,-18655),(8196.467,-18625.185),(8407.5,-18537.772),(8588.718,-18398.718),(8727.772,-18217.5),(8815.185,-18006.467),(8845,-17780),(8815.185,-17553.533),(8727.772,-17342.5),(8588.718,-17161.282),(8407.5,-17022.228),(8196.467,-16934.815),(7970,-16905),(7270,-16905),(7043.533,-16934.815),(6832.5,-17022.228),(6651.282,-17161.282),(6512.228,-17342.5),(6424.815,-17553.533),(6395,-17780),(6424.815,-18006.467),(6512.228,-18217.5),(6651.282,-18398.718),(6832.5,-18537.772),(7043.533,-18625.185)],
  [(7270,-21195),(7970,-21195),(8196.467,-21165.185),(8407.5,-21077.772),(8588.718,-20938.718),(8727.772,-20757.5),(8815.185,-20546.467),(8845,-20320),(8815.185,-20093.533),(8727.772,-19882.5),(8588.718,-19701.282),(8407.5,-19562.228),(8196.467,-19474.815),(7970,-19445),(7270,-19445),(7043.533,-19474.815),(6832.5,-19562.228),(6651.282,-19701.282),(6512.228,-19882.5),(6424.815,-20093.533),(6395,-20320),(6424.815,-20546.467),(6512.228,-20757.5),(6651.282,-20938.718),(6832.5,-21077.772),(7043.533,-21165.185)],
  [(-350,-21195),(350,-21195),(576.467,-21165.185),(787.5,-21077.772),(968.718,-20938.718),(1107.772,-20757.5),(1195.185,-20546.467),(1225,-20320),(1195.185,-20093.533),(1107.772,-19882.5),(968.718,-19701.282),(787.5,-19562.228),(576.467,-19474.815),(350,-19445),(-350,-19445),(-576.467,-19474.815),(-787.5,-19562.228),(-968.718,-19701.282),(-1107.772,-19882.5),(-1195.185,-20093.533),(-1225,-20320),(-1195.185,-20546.467),(-1107.772,-20757.5),(-968.718,-20938.718),(-787.5,-21077.772),(-576.467,-21165.185)],
  [(-350,-18655),(350,-18655),(576.467,-18625.185),(787.5,-18537.772),(968.718,-18398.718),(1107.772,-18217.5),(1195.185,-18006.467),(1225,-17780),(1195.185,-17553.533),(1107.772,-17342.5),(968.718,-17161.282),(787.5,-17022.228),(576.467,-16934.815),(350,-16905),(-350,-16905),(-576.467,-16934.815),(-787.5,-17022.228),(-968.718,-17161.282),(-1107.772,-17342.5),(-1195.185,-17553.533),(-1225,-17780),(-1195.185,-18006.467),(-1107.772,-18217.5),(-968.718,-18398.718),(-787.5,-18537.772),(-576.467,-18625.185)],
  [(-350,-16115),(350,-16115),(576.467,-16085.185),(787.5,-15997.772),(968.718,-15858.718),(1107.772,-15677.5),(1195.185,-15466.467),(1225,-15240),(1195.185,-15013.533),(1107.772,-14802.5),(968.718,-14621.282),(787.5,-14482.228),(576.467,-14394.815),(350,-14365),(-350,-14365),(-576.467,-14394.815),(-787.5,-14482.228),(-968.718,-14621.282),(-1107.772,-14802.5),(-1195.185,-15013.533),(-1225,-15240),(-1195.185,-15466.467),(-1107.772,-15677.5),(-968.718,-15858.718),(-787.5,-15997.772),(-576.467,-16085.185)],
  [(-350,-13575),(350,-13575),(576.467,-13545.185),(787.5,-13457.772),(968.718,-13318.718),(1107.772,-13137.5),(1195.185,-12926.467),(1225,-12700),(1195.185,-12473.533),(1107.772,-12262.5),(968.718,-12081.282),(787.5,-11942.228),(576.467,-11854.815),(350,-11825),(-350,-11825),(-576.467,-11854.815),(-787.5,-11942.228),(-968.718,-12081.282),(-1107.772,-12262.5),(-1195.185,-12473.533),(-1225,-12700),(-1195.185,-12926.467),(-1107.772,-13137.5),(-968.718,-13318.718),(-787.5,-13457.772),(-576.467,-13545.185)],
  [(-350,-11035),(350,-11035),(576.467,-11005.185),(787.5,-10917.772),(968.718,-10778.718),(1107.772,-10597.5),(1195.185,-10386.467),(1225,-10160),(1195.185,-9933.533),(1107.772,-9722.5),(968.718,-9541.282),(787.5,-9402.228),(576.467,-9314.815),(350,-9285),(-350,-9285),(-576.467,-9314.815),(-787.5,-9402.228),(-968.718,-9541.282),(-1107.772,-9722.5),(-1195.185,-9933.533),(-1225,-10160),(-1195.185,-10386.467),(-1107.772,-10597.5),(-968.718,-10778.718),(-787.5,-10917.772),(-576.467,-11005.185)],
  [(-350,-8495),(350,-8495),(576.467,-8465.185),(787.5,-8377.772),(968.718,-8238.718),(1107.772,-8057.5),(1195.185,-7846.467),(1225,-7620),(1195.185,-7393.533),(1107.772,-7182.5),(968.718,-7001.282),(787.5,-6862.228),(576.467,-6774.815),(350,-6745),(-350,-6745),(-576.467,-6774.815),(-787.5,-6862.228),(-968.718,-7001.282),(-1107.772,-7182.5),(-1195.185,-7393.533),(-1225,-7620),(-1195.185,-7846.467),(-1107.772,-8057.5),(-968.718,-8238.718),(-787.5,-8377.772),(-576.467,-8465.185)],
  [(-350,-5955),(350,-5955),(576.467,-5925.185),(787.5,-5837.772),(968.718,-5698.718),(1107.772,-5517.5),(1195.185,-5306.467),(1225,-5080),(1195.185,-4853.533),(1107.772,-4642.5),(968.718,-4461.282),(787.5,-4322.228),(576.467,-4234.815),(350,-4205),(-350,-4205),(-576.467,-4234.815),(-787.5,-4322.228),(-968.718,-4461.282),(-1107.772,-4642.5),(-1195.185,-4853.533),(-1225,-5080),(-1195.185,-5306.467),(-1107.772,-5517.5),(-968.718,-5698.718),(-787.5,-5837.772),(-576.467,-5925.185)],
  [(-350,-3415),(350,-3415),(576.467,-3385.185),(787.5,-3297.772),(968.718,-3158.718),(1107.772,-2977.5),(1195.185,-2766.467),(1225,-2540),(1195.185,-2313.533),(1107.772,-2102.5),(968.718,-1921.282),(787.5,-1782.228),(576.467,-1694.815),(350,-1665),(-350,-1665),(-576.467,-1694.815),(-787.5,-1782.228),(-968.718,-1921.282),(-1107.772,-2102.5),(-1195.185,-2313.533),(-1225,-2540),(-1195.185,-2766.467),(-1107.772,-2977.5),(-968.718,-3158.718),(-787.5,-3297.772),(-576.467,-3385.185)],
  [(-350,-875),(350,-875),(576.467,-845.185),(787.5,-757.772),(968.718,-618.718),(1107.772,-437.5),(1195.185,-226.467),(1225,0),(1195.185,226.467),(1107.772,437.5),(968.718,618.718),(787.5,757.772),(576.467,845.185),(350,875),(-350,875),(-576.467,845.185),(-787.5,757.772),(-968.718,618.718),(-1107.772,437.5),(-1195.185,226.467),(-1225,0),(-1195.185,-226.467),(-1107.772,-437.5),(-968.718,-618.718),(-787.5,-757.772),(-576.467,-845.185)])
dip_18_w7_62mm_longpads.add(gdstk.FlexPath([(135,1025),(-1150,1025)], 149.998, ends="flush", simple_path=True, layer=20, datatype=0))  # L20_0
dip_18_w7_62mm_longpads.add(gdstk.FlexPath([(135,-22615),(7485,-22615)], 149.998, ends="flush", simple_path=True, layer=20, datatype=0))  # L20_0
dip_18_w7_62mm_longpads.add(gdstk.FlexPath([(135,2295),(7485,2295)], 149.998, ends="flush", simple_path=True, layer=20, datatype=0))  # L20_0
dip_18_w7_62mm_longpads.add(gdstk.FlexPath([(135,-22615),(135,-21345)], 149.998, ends="flush", simple_path=True, layer=20, datatype=0))  # L20_0
dip_18_w7_62mm_longpads.add(gdstk.FlexPath([(7485,-22615),(7485,-21345)], 149.998, ends="flush", simple_path=True, layer=20, datatype=0))  # L20_0
dip_18_w7_62mm_longpads.add(gdstk.FlexPath([(7485,2295),(7485,1025)], 149.998, ends="flush", simple_path=True, layer=20, datatype=0))  # L20_0
dip_18_w7_62mm_longpads.add(gdstk.FlexPath([(135,2295),(135,1025)], 149.998, ends="flush", simple_path=True, layer=20, datatype=0))  # L20_0
dip_18_w7_62mm_longpads.add(gdstk.FlexPath([(-1400,-22800),(9000,-22800)], 50, ends="flush", simple_path=True, layer=9, datatype=0))  # L9_0
dip_18_w7_62mm_longpads.add(gdstk.FlexPath([(-1400,2450),(9000,2450)], 50, ends="flush", simple_path=True, layer=9, datatype=0))  # L9_0
dip_18_w7_62mm_longpads.add(gdstk.FlexPath([(9000,2450),(9000,-22800)], 50, ends="flush", simple_path=True, layer=9, datatype=0))  # L9_0
dip_18_w7_62mm_longpads.add(gdstk.FlexPath([(-1400,2450),(-1400,-22800)], 50, ends="flush", simple_path=True, layer=9, datatype=0))  # L9_0
dip_18_w7_62mm_longpads.add(gdstk.Label('Housings_DIP.3dshapes/DIP-18_W7.62mm_LongPads.wrl', (0,0), layer=12, texttype=0))
dip_18_w7_62mm_longpads.add(gdstk.Label('18', (7620,0), layer=28, texttype=0))
dip_18_w7_62mm_longpads.add(gdstk.Label('17', (7620,-2540), layer=28, texttype=0))
dip_18_w7_62mm_longpads.add(gdstk.Label('16', (7620,-5080), layer=28, texttype=0))
dip_18_w7_62mm_longpads.add(gdstk.Label('15', (7620,-7620), layer=28, texttype=0))
dip_18_w7_62mm_longpads.add(gdstk.Label('14', (7620,-10160), layer=28, texttype=0))
dip_18_w7_62mm_longpads.add(gdstk.Label('13', (7620,-12700), layer=28, texttype=0))
dip_18_w7_62mm_longpads.add(gdstk.Label('12', (7620,-15240), layer=28, texttype=0))
dip_18_w7_62mm_longpads.add(gdstk.Label('11', (7620,-17780), layer=28, texttype=0))
dip_18_w7_62mm_longpads.add(gdstk.Label('10', (7620,-20320), layer=28, texttype=0))
dip_18_w7_62mm_longpads.add(gdstk.Label('9', (0,-20320), layer=28, texttype=0))
dip_18_w7_62mm_longpads.add(gdstk.Label('8', (0,-17780), layer=28, texttype=0))
dip_18_w7_62mm_longpads.add(gdstk.Label('7', (0,-15240), layer=28, texttype=0))
dip_18_w7_62mm_longpads.add(gdstk.Label('6', (0,-12700), layer=28, texttype=0))
dip_18_w7_62mm_longpads.add(gdstk.Label('5', (0,-10160), layer=28, texttype=0))
dip_18_w7_62mm_longpads.add(gdstk.Label('4', (0,-7620), layer=28, texttype=0))
dip_18_w7_62mm_longpads.add(gdstk.Label('3', (0,-5080), layer=28, texttype=0))
dip_18_w7_62mm_longpads.add(gdstk.Label('2', (0,-2540), layer=28, texttype=0))
dip_18_w7_62mm_longpads.add(gdstk.Label('1', (0,0), layer=28, texttype=0))
dip_18_w7_62mm_longpads.add(gdstk.Label('type', (0,3720), layer=9, texttype=0))
dip_18_w7_62mm_longpads.add(gdstk.Label('devicename', (0,5220), layer=9, texttype=0))

lib.write_gds('DIP-18_W7.62mm_LongPads.gds')
